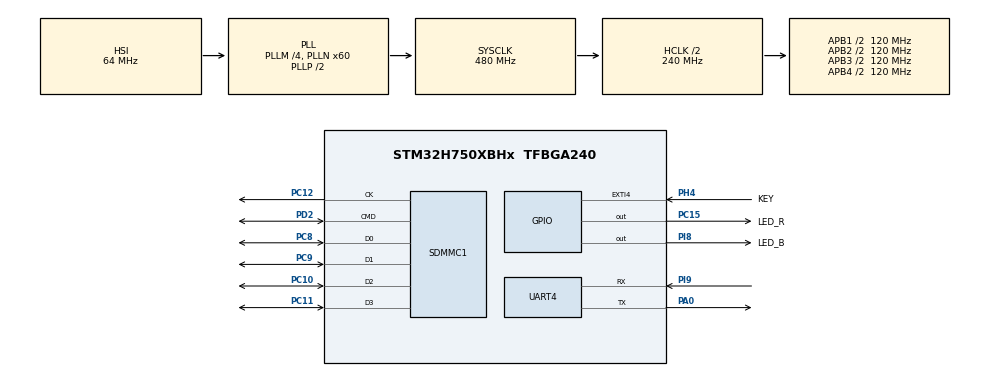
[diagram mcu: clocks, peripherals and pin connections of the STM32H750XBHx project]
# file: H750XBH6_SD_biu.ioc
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CORTEX_M7.CPU_DCache=Enabled
CORTEX_M7.CPU_ICache=Enabled
FATFS._USE_LFN=3
Mcu.Family=STM32H7
Mcu.Name=STM32H750XBHx
Mcu.Package=TFBGA240
NVIC.EXTI4_IRQn=true\:1\:0\:true\:false\:true\:true\:true
NVIC.PriorityGroup=NVIC_PRIORITYGROUP_4
NVIC.SDMMC1_IRQn=true\:1\:0\:true\:false\:true\:true\:true
NVIC.UART4_IRQn=true\:1\:0\:true\:false\:true\:true\:true
PA0.Mode=Asynchronous
PA0.Signal=UART4_TX
PA13\ (JTMS/SWDIO).Mode=Serial_Wire
PA13\ (JTMS/SWDIO).Signal=DEBUG_JTMS-SWDIO
PA14\ (JTCK/SWCLK).Mode=Serial_Wire
PA14\ (JTCK/SWCLK).Signal=DEBUG_JTCK-SWCLK
PC10.Mode=SD_4_bits_Wide_bus
PC10.Signal=SDMMC1_D2
PC11.Mode=SD_4_bits_Wide_bus
PC11.Signal=SDMMC1_D3
PC12.Mode=SD_4_bits_Wide_bus
PC12.Signal=SDMMC1_CK
PC15-OSC32_OUT\ (OSC32_OUT).GPIO_Label=LED_R
PC15-OSC32_OUT\ (OSC32_OUT).Signal=GPIO_Output
PC8.Mode=SD_4_bits_Wide_bus
PC8.Signal=SDMMC1_D0
PC9.Mode=SD_4_bits_Wide_bus
PC9.Signal=SDMMC1_D1
PD2.Mode=SD_4_bits_Wide_bus
PD2.Signal=SDMMC1_CMD
PH0-OSC_IN\ (PH0).Mode=HSE-External-Oscillator
PH0-OSC_IN\ (PH0).Signal=RCC_OSC_IN
PH1-OSC_OUT\ (PH1).Mode=HSE-External-Oscillator
PH1-OSC_OUT\ (PH1).Signal=RCC_OSC_OUT
PH4.GPIO_Label=KEY
PH4.GPIO_ModeDefaultEXTI=GPIO_MODE_IT_FALLING
PH4.GPIO_PuPd=GPIO_PULLUP
PH4.Signal=GPXTI4
PI8.GPIO_Label=LED_B
PI8.Signal=GPIO_Output
PI9.Mode=Asynchronous
PI9.Signal=UART4_RX
ProjectManager.HeapSize=0xF0000
ProjectManager.StackSize=0xF00
ProjectManager.TargetToolchain=MDK-ARM V5.27
RCC.ADCFreq_Value=129000000
RCC.APB1Freq_Value=120000000
RCC.APB2Freq_Value=120000000
RCC.APB3Freq_Value=120000000
RCC.APB4Freq_Value=120000000
RCC.CortexFreq_Value=480000000
RCC.D1PPRE=RCC_APB3_DIV2
RCC.D2PPRE1=RCC_APB1_DIV2
RCC.D2PPRE2=RCC_APB2_DIV2
RCC.D3PPRE=RCC_APB4_DIV2
RCC.DIVM1=4
RCC.DIVN1=60
RCC.HCLKFreq_Value=240000000
RCC.HPRE=RCC_HCLK_DIV2
RCC.PLL2FRACN=0
RCC.PLL3FRACN=0
RCC.PLLFRACN=0
RCC.SYSCLKFreq_VALUE=480000000
RCC.SYSCLKSource=RCC_SYSCLKSOURCE_PLLCLK
RCC.USBFreq_Value=480000000
SDMMC1.ClockDiv=4
VP_FATFS_VS_SDIO.Mode=SDIO
board=custom

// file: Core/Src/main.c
/* USER CODE BEGIN Header */
/**
  ******************************************************************************
  * @file           : main.c
  * @brief          : Main program body
  ******************************************************************************
  * @attention
  *
  * <h2><center>&copy; Copyright (c) 2023 STMicroelectronics.
  * All rights reserved.</center></h2>
  *
  * This software component is licensed by ST under Ultimate Liberty license
  * SLA0044, the "License"; You may not use this file except in compliance with
  * the License. You may obtain a copy of the License at:
  *                             www.st.com/SLA0044
  *
  ******************************************************************************
  */
/* USER CODE END Header */
#include "main.h"
#include "fatfs.h"
#include "sdmmc.h"
#include "usart.h"
#include "gpio.h"

/* USER CODE BEGIN Includes */
#include <stdio.h>
#include "SD_use.h"
#include "qspi_w25q64.h"
/* USER CODE END Includes */

void SystemClock_Config(void);

/* USER CODE BEGIN 0 */
/********************************************** 变量定义 *******************************************/

typedef  void (*pFunction)(void);

pFunction JumpToApplication;
extern uint8_t SD_use;
/* USER CODE END 0 */

int main(void)
{
  /* USER CODE BEGIN 1 */
    char bin_PATH[20];
    uint8_t key_status=0;
    uint16_t time_num=0;

  /* USER CODE END 1 */

  /* Enable I-Cache---------------------------------------------------------*/
  SCB_EnableICache();

  /* Enable D-Cache---------------------------------------------------------*/
  SCB_EnableDCache();

  /* MCU Configuration--------------------------------------------------------*/

  /* Reset of all peripherals, Initializes the Flash interface and the Systick. */
  HAL_Init();

  /* Configure the system clock */
  SystemClock_Config();

  /* Initialize all configured peripherals */
  MX_GPIO_Init();
  MX_SDMMC1_SD_Init();
  MX_UART4_Init();
  MX_FATFS_Init();
  /* USER CODE BEGIN 2 */

    LED_R_GPIO_Port->ODR|=LED_R_Pin;
    LED_B_GPIO_Port->ODR|=LED_B_Pin;
    QSPI_W25Qxx_Init();	  				 // 初始化W25Q64

    if(SD_use==0)
    {
        FatFs_Check();			//判断FatFs是否挂载成功，若没有创建FatFs则格式化SD卡

        ViewRootDir();          //输出根目录文件信息
        printf("-----------------------------------------------------------------\n");
        if(Find_bin_file(bin_PATH)==1)//SD卡内有bin文件，执行功能选择
        {
            printf("已找到bin文件:%s\n",bin_PATH);
            printf("-------------------------------------------------------------------\n");
            printf("请在三秒内按下按键，进入bin文件下载升级模式\n");
            time_num=0;
            while(HAL_GPIO_ReadPin(KEY_GPIO_Port,KEY_Pin)==1)
            {
                time_num++;
                HAL_Delay(10);
                if(time_num>300){
                    key_status=0;
                    break;
                }
            }
            if(HAL_GPIO_ReadPin(KEY_GPIO_Port,KEY_Pin)==0)
                key_status=1;
            else
                key_status=0;
            if(key_status)
            {
                printf("-------------------------------------------------------------------\n");
                printf("检测到按键输入，即将进入bin文件下载升级模式\n");
                printf("模式 SD:bin文件-->QSPI flash \n");
                bin_load(bin_PATH);//下载bin文件
                printf("即将从flash引导代码执行");
            }
            else
            {
                printf("-------------------------------------------------------------------\n");
                printf("按键超时\n");
                printf("即将从flash引导代码执行");
            }
    /*-----------------------从flash引导代码-----------------------------------------------------------*/
            QSPI_W25Qxx_MemoryMappedMode(); 	 // 配置QSPI为内存映射模式
            SCB_DisableICache();		// 关闭ICache
            SCB_DisableDCache();		// 关闭Dcache

            SysTick->CTRL = 0;		// 关闭SysTick
            SysTick->LOAD = 0;		// 清零重载值
            SysTick->VAL = 0;			// 清零计数值

            JumpToApplication = (pFunction) (*(__IO uint32_t*) (W25Qxx_Mem_Addr + 4));	// 设置起始地址
            __set_MSP(*(__IO uint32_t*) W25Qxx_Mem_Addr);	// 设置主堆栈指针
            printf("跳转到W25Q64运行用户程序>>>\r\n\r\n");

            JumpToApplication();			// 执行跳转
        }
        else//SD卡内没有bin文件，执行引导
            printf("未在SD卡根目录里发现bin文件\n");
    }
    else
    {
            QSPI_W25Qxx_MemoryMappedMode(); 	 // 配置QSPI为内存映射模式
            SCB_DisableICache();		// 关闭ICache
            SCB_DisableDCache();		// 关闭Dcache

            SysTick->CTRL = 0;		// 关闭SysTick
            SysTick->LOAD = 0;		// 清零重载值
            SysTick->VAL = 0;			// 清零计数值

            JumpToApplication = (pFunction) (*(__IO uint32_t*) (W25Qxx_Mem_Addr + 4));	// 设置起始地址
            __set_MSP(*(__IO uint32_t*) W25Qxx_Mem_Addr);	// 设置主堆栈指针
            printf("跳转到W25Q64运行用户程序>>>\r\n\r\n");

            JumpToApplication();			// 执行跳转
    }
  /* USER CODE END 2 */

  /* Infinite loop */
  while (1)
  {

    /* USER CODE BEGIN 3 */
      HAL_Delay(100);
      LED_R_GPIO_Port->ODR^=LED_R_Pin;
  }
  /* USER CODE END 3 */
}

void SystemClock_Config(void)
{
  RCC_OscInitTypeDef RCC_OscInitStruct = {0};
  RCC_ClkInitTypeDef RCC_ClkInitStruct = {0};
  RCC_PeriphCLKInitTypeDef PeriphClkInitStruct = {0};

  /** Supply configuration update enable
  */
  HAL_PWREx_ConfigSupply(PWR_LDO_SUPPLY);
  /** Configure the main internal regulator output voltage
  */
  __HAL_PWR_VOLTAGESCALING_CONFIG(PWR_REGULATOR_VOLTAGE_SCALE0);

  while(!__HAL_PWR_GET_FLAG(PWR_FLAG_VOSRDY)) {}
  /** Initializes the RCC Oscillators according to the specified parameters
  * in the RCC_OscInitTypeDef structure.
  */
  RCC_OscInitStruct.OscillatorType = RCC_OSCILLATORTYPE_HSI;
  RCC_OscInitStruct.HSIState = RCC_HSI_DIV1;
  RCC_OscInitStruct.HSICalibrationValue = RCC_HSICALIBRATION_DEFAULT;
  RCC_OscInitStruct.PLL.PLLState = RCC_PLL_ON;
  RCC_OscInitStruct.PLL.PLLSource = RCC_PLLSOURCE_HSI;
  RCC_OscInitStruct.PLL.PLLM = 4;
  RCC_OscInitStruct.PLL.PLLN = 60;
  RCC_OscInitStruct.PLL.PLLP = 2;
  RCC_OscInitStruct.PLL.PLLQ = 2;
  RCC_OscInitStruct.PLL.PLLR = 2;
  RCC_OscInitStruct.PLL.PLLRGE = RCC_PLL1VCIRANGE_3;
  RCC_OscInitStruct.PLL.PLLVCOSEL = RCC_PLL1VCOWIDE;
  RCC_OscInitStruct.PLL.PLLFRACN = 0;
  if (HAL_RCC_OscConfig(&RCC_OscInitStruct) != HAL_OK)
  {
    Error_Handler();
  }
  /** Initializes the CPU, AHB and APB buses clocks
  */
  RCC_ClkInitStruct.ClockType = RCC_CLOCKTYPE_HCLK|RCC_CLOCKTYPE_SYSCLK
                              |RCC_CLOCKTYPE_PCLK1|RCC_CLOCKTYPE_PCLK2
                              |RCC_CLOCKTYPE_D3PCLK1|RCC_CLOCKTYPE_D1PCLK1;
  RCC_ClkInitStruct.SYSCLKSource = RCC_SYSCLKSOURCE_PLLCLK;
  RCC_ClkInitStruct.SYSCLKDivider = RCC_SYSCLK_DIV1;
  RCC_ClkInitStruct.AHBCLKDivider = RCC_HCLK_DIV2;
  RCC_ClkInitStruct.APB3CLKDivider = RCC_APB3_DIV2;
  RCC_ClkInitStruct.APB1CLKDivider = RCC_APB1_DIV2;
  RCC_ClkInitStruct.APB2CLKDivider = RCC_APB2_DIV2;
  RCC_ClkInitStruct.APB4CLKDivider = RCC_APB4_DIV2;

  if (HAL_RCC_ClockConfig(&RCC_ClkInitStruct, FLASH_LATENCY_4) != HAL_OK)
  {
    Error_Handler();
  }
  PeriphClkInitStruct.PeriphClockSelection = RCC_PERIPHCLK_UART4|RCC_PERIPHCLK_SDMMC;
  PeriphClkInitStruct.SdmmcClockSelection = RCC_SDMMCCLKSOURCE_PLL;
  PeriphClkInitStruct.Usart234578ClockSelection = RCC_USART234578CLKSOURCE_D2PCLK1;
  if (HAL_RCCEx_PeriphCLKConfig(&PeriphClkInitStruct) != HAL_OK)
  {
    Error_Handler();
  }
}

void Error_Handler(void)
{
  /* USER CODE BEGIN Error_Handler_Debug */
  /* User can add his own implementation to report the HAL error return state */
//  __disable_irq();
    LED_R_GPIO_Port->ODR|=LED_R_Pin;
    LED_B_GPIO_Port->ODR|=LED_B_Pin;
  while (1)
  {
    HAL_GPIO_TogglePin(LED_R_GPIO_Port,LED_R_Pin);
    HAL_Delay(100);
  }
  /* USER CODE END Error_Handler_Debug */
}

/************************ (C) COPYRIGHT STMicroelectronics *****END OF FILE****/
